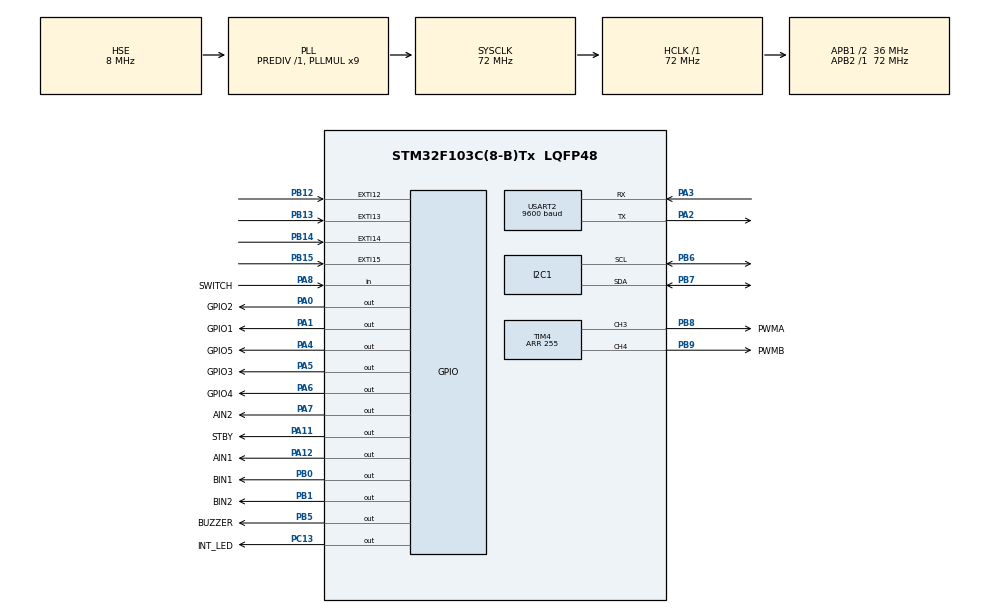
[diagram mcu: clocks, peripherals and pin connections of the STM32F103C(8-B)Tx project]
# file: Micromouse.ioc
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Mcu.Family=STM32F1
Mcu.Name=STM32F103C(8-B)Tx
Mcu.Package=LQFP48
NVIC.PriorityGroup=NVIC_PRIORITYGROUP_4
PA0-WKUP.GPIO_Label=GPIO2
PA0-WKUP.Signal=GPIO_Output
PA1.GPIO_Label=GPIO1
PA1.Signal=GPIO_Output
PA11.GPIO_Label=STBY
PA11.Signal=GPIO_Output
PA12.GPIO_Label=AIN1
PA12.Signal=GPIO_Output
PA13.Mode=Serial_Wire
PA13.Signal=SYS_JTMS-SWDIO
PA14.Mode=Serial_Wire
PA14.Signal=SYS_JTCK-SWCLK
PA2.Mode=Asynchronous
PA2.Signal=USART2_TX
PA3.Mode=Asynchronous
PA3.Signal=USART2_RX
PA4.GPIO_Label=GPIO5
PA4.Signal=GPIO_Output
PA5.GPIO_Label=GPIO3
PA5.Signal=GPIO_Output
PA6.GPIO_Label=GPIO4
PA6.Signal=GPIO_Output
PA7.GPIO_Label=AIN2
PA7.Signal=GPIO_Output
PA8.GPIO_Label=SWITCH
PA8.Signal=GPIO_Input
PB0.GPIO_Label=BIN1
PB0.Signal=GPIO_Output
PB1.GPIO_Label=BIN2
PB1.Signal=GPIO_Output
PB12.Signal=GPXTI12
PB13.Signal=GPXTI13
PB14.Signal=GPXTI14
PB15.Signal=GPXTI15
PB5.GPIO_Label=BUZZER
PB5.Signal=GPIO_Output
PB6.Mode=I2C
PB6.Signal=I2C1_SCL
PB7.Mode=I2C
PB7.Signal=I2C1_SDA
PB8.GPIO_Label=PWMA
PB8.Signal=S_TIM4_CH3
PB9.GPIO_Label=PWMB
PB9.Signal=S_TIM4_CH4
PC13-TAMPER-RTC.GPIO_Label=INT_LED
PC13-TAMPER-RTC.Signal=GPIO_Output
PC14-OSC32_IN.Mode=LSE-External-Oscillator
PC14-OSC32_IN.Signal=RCC_OSC32_IN
PC15-OSC32_OUT.Mode=LSE-External-Oscillator
PC15-OSC32_OUT.Signal=RCC_OSC32_OUT
PD0-OSC_IN.Mode=HSE-External-Oscillator
PD0-OSC_IN.Signal=RCC_OSC_IN
PD1-OSC_OUT.Mode=HSE-External-Oscillator
PD1-OSC_OUT.Signal=RCC_OSC_OUT
ProjectManager.HeapSize=0x200
ProjectManager.StackSize=0x400
ProjectManager.TargetToolchain=STM32CubeIDE
RCC.AHBFreq_Value=72000000
RCC.APB1CLKDivider=RCC_HCLK_DIV2
RCC.APB1Freq_Value=36000000
RCC.APB1TimFreq_Value=72000000
RCC.APB2Freq_Value=72000000
RCC.APB2TimFreq_Value=72000000
RCC.HCLKFreq_Value=72000000
RCC.PLLMUL=RCC_PLL_MUL9
RCC.PLLSourceVirtual=RCC_PLLSOURCE_HSE
RCC.SYSCLKFreq_VALUE=72000000
RCC.SYSCLKSource=RCC_SYSCLKSOURCE_PLLCLK
RCC.USBFreq_Value=72000000
SH.S_TIM4_CH3.0=TIM4_CH3,PWM Generation3 CH3
SH.S_TIM4_CH4.0=TIM4_CH4,PWM Generation4 CH4
TIM4.Channel-PWM\ Generation3\ CH3=TIM_CHANNEL_3
TIM4.Channel-PWM\ Generation4\ CH4=TIM_CHANNEL_4
TIM4.Period=255
USART2.BaudRate=9600
USART2.VirtualMode=VM_ASYNC
board=custom

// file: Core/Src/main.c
/* USER CODE BEGIN Header */
/**
  ******************************************************************************
  * @file           : main.c
  * @brief          : Main program body
  ******************************************************************************
  * @attention
  *
  * Copyright (c) 2025 STMicroelectronics.
  * All rights reserved.
  *
  * This software is licensed under terms that can be found in the LICENSE file
  * in the root directory of this software component.
  * If no LICENSE file comes with this software, it is provided AS-IS.
  *
  ******************************************************************************
  */
/* USER CODE END Header */
#include "main.h"

/* USER CODE BEGIN Includes */
#include "stdio.h"
#include "ssd1306.h"
#include "fonts.h"
#include "stdio.h"

#include "VL6180X.h"

#include "Pins.h"
#include "ZlgoVariables.h"
#include "Variables.h"
#include "Motors.h"
#include "Turns.h"
#include "WallPid.h"
#include "Speed.h"
#include "Moves.h"
#include "Zlgo.h"
#include "MazeSolve.h"

/* USER CODE END Includes */

/* USER CODE BEGIN PTD */
VL6180X_Dev_t vl6180x_dev1;
VL6180X_Dev_t vl6180x_dev2;
VL6180X_Dev_t vl6180x_dev3;
VL6180X_Dev_t vl6180x_dev4;
VL6180X_Dev_t vl6180x_dev5;
/* USER CODE END PTD */

/* USER CODE BEGIN PD */
#define SENSOR1_ADDRESS  0x2B
#define SENSOR2_ADDRESS  0x2C
#define SENSOR3_ADDRESS  0x2D
#define SENSOR4_ADDRESS  0x2E
#define SENSOR5_ADDRESS  0x2F
/* USER CODE END PD */

I2C_HandleTypeDef hi2c1;

TIM_HandleTypeDef htim4;

UART_HandleTypeDef huart2;

void SystemClock_Config(void);
static void MX_GPIO_Init(void);
static void MX_USART2_UART_Init(void);
static void MX_I2C1_Init(void);
static void MX_TIM4_Init(void);

/* USER CODE BEGIN 0 */

static void VL6180X_SensorOn(GPIO_TypeDef* gpioPort, uint16_t gpioPin)
{
    HAL_GPIO_WritePin(gpioPort, gpioPin, GPIO_PIN_SET);
}

void VL6180X_Setup(){
	// Make sure all sensors are off initially.
	HAL_GPIO_WritePin(GPIO1_GPIO_Port, GPIO1_Pin, GPIO_PIN_RESET);
	HAL_GPIO_WritePin(GPIO2_GPIO_Port, GPIO2_Pin, GPIO_PIN_RESET);
	HAL_GPIO_WritePin(GPIO3_GPIO_Port, GPIO3_Pin, GPIO_PIN_RESET);
	HAL_GPIO_WritePin(GPIO4_GPIO_Port, GPIO4_Pin, GPIO_PIN_RESET);
	HAL_GPIO_WritePin(GPIO5_GPIO_Port, GPIO5_Pin, GPIO_PIN_RESET);

	// Power up each sensor in turn, assign unique address, init and configure.

	// --------------------- Sensor 1 --------------------
	VL6180X_SensorOn(GPIO1_GPIO_Port, GPIO1_Pin);
	vl6180x_dev1.hi2c = &hi2c1;
	vl6180x_dev1.i2c_address = VL6180X_ADDRESS_DEFAULT; // 0x29
	vl6180x_dev1.io_timeout = 10;
	vl6180x_dev1.did_timeout = false;

	VL6180X_Init(&vl6180x_dev1);
	VL6180X_ConfigureDefault(&vl6180x_dev1);

	// Keep sensor 1 at 0x29 or explicitly set it (redundant):
	// VL6180X_SetAddress(&vl6180x_dev1, SENSOR1_ADDRESS);

	// --------------------- Sensor 2 --------------------
	VL6180X_SensorOn(GPIO2_GPIO_Port, GPIO2_Pin);
	vl6180x_dev2.hi2c = &hi2c1;
	vl6180x_dev2.i2c_address = VL6180X_ADDRESS_DEFAULT; // 0x29 initially
	vl6180x_dev2.io_timeout = 10;
	vl6180x_dev2.did_timeout = false;

	VL6180X_Init(&vl6180x_dev2);
	VL6180X_ConfigureDefault(&vl6180x_dev2);
	// Set new address to 0x2A
	VL6180X_SetAddress(&vl6180x_dev2, SENSOR2_ADDRESS);

	// --------------------- Sensor 3 --------------------
	VL6180X_SensorOn(GPIO3_GPIO_Port, GPIO3_Pin);
	vl6180x_dev3.hi2c = &hi2c1;
	vl6180x_dev3.i2c_address = VL6180X_ADDRESS_DEFAULT;
	vl6180x_dev3.io_timeout = 10;
	vl6180x_dev3.did_timeout = false;

	VL6180X_Init(&vl6180x_dev3);
	VL6180X_ConfigureDefault(&vl6180x_dev3);
	VL6180X_SetAddress(&vl6180x_dev3, SENSOR3_ADDRESS);

	// --------------------- Sensor 4 --------------------
	VL6180X_SensorOn(GPIO4_GPIO_Port, GPIO4_Pin);
	vl6180x_dev4.hi2c = &hi2c1;
	vl6180x_dev4.i2c_address = VL6180X_ADDRESS_DEFAULT;
	vl6180x_dev4.io_timeout = 10;
	vl6180x_dev4.did_timeout = false;

	VL6180X_Init(&vl6180x_dev4);
	VL6180X_ConfigureDefault(&vl6180x_dev4);
	VL6180X_SetAddress(&vl6180x_dev4, SENSOR4_ADDRESS);

	// --------------------- Sensor 5 --------------------
	VL6180X_SensorOn(GPIO5_GPIO_Port, GPIO5_Pin);
	vl6180x_dev5.hi2c = &hi2c1;
	vl6180x_dev5.i2c_address = VL6180X_ADDRESS_DEFAULT;
	vl6180x_dev5.io_timeout = 10;
	vl6180x_dev5.did_timeout = false;

	VL6180X_Init(&vl6180x_dev5);
	VL6180X_ConfigureDefault(&vl6180x_dev5);
	VL6180X_SetAddress(&vl6180x_dev5, SENSOR5_ADDRESS);

	printf("All 5 VL6180X sensors are initialized.\r\n");
}

void VL6180X_readAll(){

	// Read range from each sensor
	uint8_t range1 = VL6180X_ReadRangeSingle(&vl6180x_dev1);
	uint8_t range2 = VL6180X_ReadRangeSingle(&vl6180x_dev2);
	uint8_t range3 = VL6180X_ReadRangeSingle(&vl6180x_dev3);
	uint8_t range4 = VL6180X_ReadRangeSingle(&vl6180x_dev4);
	uint8_t range5 = VL6180X_ReadRangeSingle(&vl6180x_dev5);

	// Optionally check each sensor's error code
	// (0 = OK; see your definitions for others)
	//uint8_t status1 = VL6180X_ReadRangeStatus(&vl6180x_dev1);
	//uint8_t status2 = VL6180X_ReadRangeStatus(&vl6180x_dev2);
	//uint8_t status3 = VL6180X_ReadRangeStatus(&vl6180x_dev3);
	//uint8_t status4 = VL6180X_ReadRangeStatus(&vl6180x_dev4);
	//uint8_t status5 = VL6180X_ReadRangeStatus(&vl6180x_dev5);

	// uint16_t mm1 = (uint16_t)range1 * vl6180x_dev1.scaling;
	//printf("S1=%3u (st=%u) | ", range1, status1);
	//printf("S2=%3u (st=%u) | ", range2, status2);
	//printf("S3=%3u (st=%u) | ", range3, status3);
	//printf("S4=%3u (st=%u) | ", range4, status4);
	//printf("S5=%3u (st=%u)\r\n", range5, status5);

	// Check for timeouts
	if (VL6180X_TimeoutOccurred(&vl6180x_dev1)) { printf("Sensor1 timeout.\r\n"); }
	if (VL6180X_TimeoutOccurred(&vl6180x_dev2)) { printf("Sensor2 timeout.\r\n"); }
	if (VL6180X_TimeoutOccurred(&vl6180x_dev3)) { printf("Sensor3 timeout.\r\n"); }
	if (VL6180X_TimeoutOccurred(&vl6180x_dev4)) { printf("Sensor4 timeout.\r\n"); }
	if (VL6180X_TimeoutOccurred(&vl6180x_dev5)) { printf("Sensor5 timeout.\r\n"); }
}

/* USER CODE END 0 */

int main(void)
{

  /* MCU Configuration--------------------------------------------------------*/

  /* Reset of all peripherals, Initializes the Flash interface and the Systick. */
  HAL_Init();

  /* Configure the system clock */
  SystemClock_Config();

  /* Initialize all configured peripherals */
  MX_GPIO_Init();
  MX_USART2_UART_Init();
  MX_I2C1_Init();
  MX_TIM4_Init();
  /* USER CODE BEGIN 2 */

  HAL_TIM_PWM_Start(&htim4, TIM_CHANNEL_3);
  HAL_TIM_PWM_Start(&htim4, TIM_CHANNEL_4);

  /* USER CODE END 2 */

  /* Infinite loop */
  /* USER CODE BEGIN WHILE */
  while (1)
  {
	  printf("Hello from STM32 via HC-05!\r\n");
	  HAL_Delay(1000);
	  searchStates();

    /* USER CODE END WHILE */

  }
}

void SystemClock_Config(void)
{
  RCC_OscInitTypeDef RCC_OscInitStruct = {0};
  RCC_ClkInitTypeDef RCC_ClkInitStruct = {0};

  /** Initializes the RCC Oscillators according to the specified parameters
  * in the RCC_OscInitTypeDef structure.
  */
  RCC_OscInitStruct.OscillatorType = RCC_OSCILLATORTYPE_HSE;
  RCC_OscInitStruct.HSEState = RCC_HSE_ON;
  RCC_OscInitStruct.HSEPredivValue = RCC_HSE_PREDIV_DIV1;
  RCC_OscInitStruct.HSIState = RCC_HSI_ON;
  RCC_OscInitStruct.PLL.PLLState = RCC_PLL_ON;
  RCC_OscInitStruct.PLL.PLLSource = RCC_PLLSOURCE_HSE;
  RCC_OscInitStruct.PLL.PLLMUL = RCC_PLL_MUL9;
  if (HAL_RCC_OscConfig(&RCC_OscInitStruct) != HAL_OK)
  {
    Error_Handler();
  }

  /** Initializes the CPU, AHB and APB buses clocks
  */
  RCC_ClkInitStruct.ClockType = RCC_CLOCKTYPE_HCLK|RCC_CLOCKTYPE_SYSCLK
                              |RCC_CLOCKTYPE_PCLK1|RCC_CLOCKTYPE_PCLK2;
  RCC_ClkInitStruct.SYSCLKSource = RCC_SYSCLKSOURCE_PLLCLK;
  RCC_ClkInitStruct.AHBCLKDivider = RCC_SYSCLK_DIV1;
  RCC_ClkInitStruct.APB1CLKDivider = RCC_HCLK_DIV2;
  RCC_ClkInitStruct.APB2CLKDivider = RCC_HCLK_DIV1;

  if (HAL_RCC_ClockConfig(&RCC_ClkInitStruct, FLASH_LATENCY_2) != HAL_OK)
  {
    Error_Handler();
  }
}

static void MX_I2C1_Init(void)
{

  hi2c1.Instance = I2C1;
  hi2c1.Init.ClockSpeed = 100000;
  hi2c1.Init.DutyCycle = I2C_DUTYCYCLE_2;
  hi2c1.Init.OwnAddress1 = 0;
  hi2c1.Init.AddressingMode = I2C_ADDRESSINGMODE_7BIT;
  hi2c1.Init.DualAddressMode = I2C_DUALADDRESS_DISABLE;
  hi2c1.Init.OwnAddress2 = 0;
  hi2c1.Init.GeneralCallMode = I2C_GENERALCALL_DISABLE;
  hi2c1.Init.NoStretchMode = I2C_NOSTRETCH_DISABLE;
  if (HAL_I2C_Init(&hi2c1) != HAL_OK)
  {
    Error_Handler();
  }

}

static void MX_TIM4_Init(void)
{

  TIM_MasterConfigTypeDef sMasterConfig = {0};
  TIM_OC_InitTypeDef sConfigOC = {0};

  htim4.Instance = TIM4;
  htim4.Init.Prescaler = 0;
  htim4.Init.CounterMode = TIM_COUNTERMODE_UP;
  htim4.Init.Period = 255;
  htim4.Init.ClockDivision = TIM_CLOCKDIVISION_DIV1;
  htim4.Init.AutoReloadPreload = TIM_AUTORELOAD_PRELOAD_DISABLE;
  if (HAL_TIM_PWM_Init(&htim4) != HAL_OK)
  {
    Error_Handler();
  }
  sMasterConfig.MasterOutputTrigger = TIM_TRGO_RESET;
  sMasterConfig.MasterSlaveMode = TIM_MASTERSLAVEMODE_DISABLE;
  if (HAL_TIMEx_MasterConfigSynchronization(&htim4, &sMasterConfig) != HAL_OK)
  {
    Error_Handler();
  }
  sConfigOC.OCMode = TIM_OCMODE_PWM1;
  sConfigOC.Pulse = 0;
  sConfigOC.OCPolarity = TIM_OCPOLARITY_HIGH;
  sConfigOC.OCFastMode = TIM_OCFAST_DISABLE;
  if (HAL_TIM_PWM_ConfigChannel(&htim4, &sConfigOC, TIM_CHANNEL_3) != HAL_OK)
  {
    Error_Handler();
  }
  if (HAL_TIM_PWM_ConfigChannel(&htim4, &sConfigOC, TIM_CHANNEL_4) != HAL_OK)
  {
    Error_Handler();
  }
  HAL_TIM_MspPostInit(&htim4);

}

static void MX_USART2_UART_Init(void)
{

  huart2.Instance = USART2;
  huart2.Init.BaudRate = 9600;
  huart2.Init.WordLength = UART_WORDLENGTH_8B;
  huart2.Init.StopBits = UART_STOPBITS_1;
  huart2.Init.Parity = UART_PARITY_NONE;
  huart2.Init.Mode = UART_MODE_TX_RX;
  huart2.Init.HwFlowCtl = UART_HWCONTROL_NONE;
  huart2.Init.OverSampling = UART_OVERSAMPLING_16;
  if (HAL_UART_Init(&huart2) != HAL_OK)
  {
    Error_Handler();
  }

}

static void MX_GPIO_Init(void)
{
  GPIO_InitTypeDef GPIO_InitStruct = {0};

  /* GPIO Ports Clock Enable */
  __HAL_RCC_GPIOC_CLK_ENABLE();
  __HAL_RCC_GPIOD_CLK_ENABLE();
  __HAL_RCC_GPIOA_CLK_ENABLE();
  __HAL_RCC_GPIOB_CLK_ENABLE();

  /*Configure GPIO pin Output Level */
  HAL_GPIO_WritePin(INT_LED_GPIO_Port, INT_LED_Pin, GPIO_PIN_RESET);

  /*Configure GPIO pin Output Level */
  HAL_GPIO_WritePin(GPIOA, GPIO2_Pin|GPIO1_Pin|GPIO5_Pin|GPIO3_Pin
                          |GPIO4_Pin|AIN2_Pin|STBY_Pin|AIN1_Pin, GPIO_PIN_RESET);

  /*Configure GPIO pin Output Level */
  HAL_GPIO_WritePin(GPIOB, BIN1_Pin|BIN2_Pin|BUZZER_Pin, GPIO_PIN_RESET);

  /*Configure GPIO pin : INT_LED_Pin */
  GPIO_InitStruct.Pin = INT_LED_Pin;
  GPIO_InitStruct.Mode = GPIO_MODE_OUTPUT_PP;
  GPIO_InitStruct.Pull = GPIO_NOPULL;
  GPIO_InitStruct.Speed = GPIO_SPEED_FREQ_LOW;
  HAL_GPIO_Init(INT_LED_GPIO_Port, &GPIO_InitStruct);

  /*Configure GPIO pins : GPIO2_Pin GPIO1_Pin GPIO5_Pin GPIO3_Pin
                           GPIO4_Pin AIN2_Pin STBY_Pin AIN1_Pin */
  GPIO_InitStruct.Pin = GPIO2_Pin|GPIO1_Pin|GPIO5_Pin|GPIO3_Pin
                          |GPIO4_Pin|AIN2_Pin|STBY_Pin|AIN1_Pin;
  GPIO_InitStruct.Mode = GPIO_MODE_OUTPUT_PP;
  GPIO_InitStruct.Pull = GPIO_NOPULL;
  GPIO_InitStruct.Speed = GPIO_SPEED_FREQ_LOW;
  HAL_GPIO_Init(GPIOA, &GPIO_InitStruct);

  /*Configure GPIO pins : BIN1_Pin BIN2_Pin BUZZER_Pin */
  GPIO_InitStruct.Pin = BIN1_Pin|BIN2_Pin|BUZZER_Pin;
  GPIO_InitStruct.Mode = GPIO_MODE_OUTPUT_PP;
  GPIO_InitStruct.Pull = GPIO_NOPULL;
  GPIO_InitStruct.Speed = GPIO_SPEED_FREQ_LOW;
  HAL_GPIO_Init(GPIOB, &GPIO_InitStruct);

  /*Configure GPIO pins : PB12 PB13 PB14 PB15 */
  GPIO_InitStruct.Pin = GPIO_PIN_12|GPIO_PIN_13|GPIO_PIN_14|GPIO_PIN_15;
  GPIO_InitStruct.Mode = GPIO_MODE_IT_RISING;
  GPIO_InitStruct.Pull = GPIO_NOPULL;
  HAL_GPIO_Init(GPIOB, &GPIO_InitStruct);

  /*Configure GPIO pin : SWITCH_Pin */
  GPIO_InitStruct.Pin = SWITCH_Pin;
  GPIO_InitStruct.Mode = GPIO_MODE_INPUT;
  GPIO_InitStruct.Pull = GPIO_NOPULL;
  HAL_GPIO_Init(SWITCH_GPIO_Port, &GPIO_InitStruct);

}

/* USER CODE BEGIN 4 */

int _write(int file, char *ptr, int len) {
    HAL_UART_Transmit(&huart2, (uint8_t*)ptr, len, HAL_MAX_DELAY);
    return len;
}

/* USER CODE END 4 */

void Error_Handler(void)
{
  __disable_irq();
  while (1)
  {
  }
}
